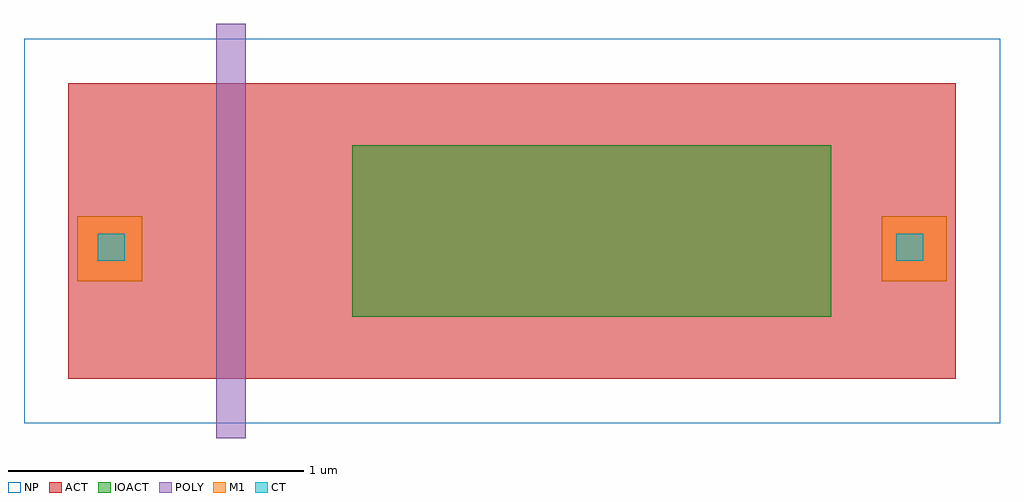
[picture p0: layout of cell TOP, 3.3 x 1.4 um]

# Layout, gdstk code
import gdstk
lib = gdstk.Library(unit=1e-6, precision=1e-09)
def R(c, l, rs):  # rectangles x0, y0, x1, y1
    for r in rs: c.add(gdstk.rectangle(r[:2], r[2:], *l))
ACT = (2, 1)
POLY = (41, 1)
NP = (52, 1)
IOACT = (71, 1)
CT = (72, 1)
M1 = (81, 1)

top = lib.new_cell('TOP')
R(top, ACT, [(0,0,3,1)])
R(top, POLY, [(0.5,-0.2,0.6,1.2)])
R(top, NP, [(-0.15,-0.15,3.15,1.15)])
R(top, IOACT, [(0.96,0.21,2.58,0.79)])
R(top, CT, [(0.1,0.4,0.19,0.49), (2.8,0.4,2.89,0.49)])
R(top, M1, [(0.03,0.33,0.25,0.55), (2.75,0.33,2.97,0.55)])

lib.write_gds('TOP.gds')
